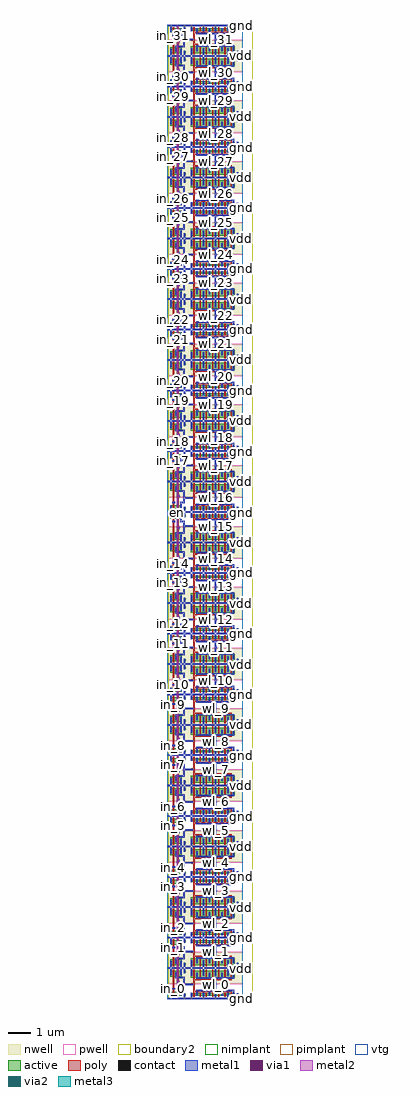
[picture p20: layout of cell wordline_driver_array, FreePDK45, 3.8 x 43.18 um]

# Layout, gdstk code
import gdstk
lib = gdstk.Library(unit=1e-6, precision=5e-10)
def R(c, l, rs):  # rectangles x0, y0, x1, y1
    for r in rs: c.add(gdstk.rectangle(r[:2], r[2:], *l))
def A(c, l, x, y, w, h, nx, ny, dx, dy):  # array of equal rectangles
    R(c, l, [(x+i*dx, y+j*dy, x+i*dx+w, y+j*dy+h) for i in range(nx) for j in range(ny)])
active = (1, 0)
pwell = (2, 0)
nwell = (3, 0)
nimplant = (4, 0)
pimplant = (5, 0)
vtg = (6, 0)
poly = (9, 0)
contact = (10, 0)
metal1 = (11, 0)
via1 = (12, 0)
metal2 = (13, 0)
via2 = (14, 0)
metal3 = (15, 0)
boundary2 = (239, 0)

contact_10 = lib.new_cell('contact_10')
R(contact_10, active, [(0,0.0225,0.09,0.1125)])
R(contact_10, nwell, [(-0.055,-0.0325,0.145,0.1675)])
R(contact_10, pimplant, [(0,0.0225,0.09,0.1125)])
R(contact_10, contact, [(0.0125,0.035,0.0775,0.1)])
R(contact_10, metal1, [(0.0125,0,0.0775,0.135)])
R(contact_10, boundary2, [(-0.055,-0.0325,0.145,0.1675)])

pmos_m1_w0_270_sm1_dm1 = lib.new_cell('pmos_m1_w0_270_sm1_dm1')
R(pmos_m1_w0_270_sm1_dm1, active, [(0,0,0.305,0.27)])
R(pmos_m1_w0_270_sm1_dm1, nwell, [(-0.08,-0.08,0.385,0.35)])
R(pmos_m1_w0_270_sm1_dm1, pimplant, [(0,0,0.305,0.27)])
R(pmos_m1_w0_270_sm1_dm1, vtg, [(-0.08,-0.08,0.385,0.35)])
R(pmos_m1_w0_270_sm1_dm1, poly, [(0.1275,-0.055,0.1775,0.325), (0.1275,-0.055,0.1775,0.325)])
R(pmos_m1_w0_270_sm1_dm1, metal1, [(0.0125,0.0675,0.0775,0.2025), (0.2275,0.0675,0.2925,0.2025)])
R(pmos_m1_w0_270_sm1_dm1, boundary2, [(-0.08,-0.08,0.385,0.35)])
pmos_m1_w0_270_sm1_dm1.add(gdstk.Reference(contact_10, (0,0.0675)))
pmos_m1_w0_270_sm1_dm1.add(gdstk.Reference(contact_10, (0.215,0.0675)))
pmos_m1_w0_270_sm1_dm1.add(gdstk.Label('S', (0.045,0.135), layer=11, texttype=0))
pmos_m1_w0_270_sm1_dm1.add(gdstk.Label('D', (0.26,0.135), layer=11, texttype=0))
pmos_m1_w0_270_sm1_dm1.add(gdstk.Label('G', (0.1525,0.135), layer=9, texttype=0))

contact_9 = lib.new_cell('contact_9')
R(contact_9, active, [(0,0.0225,0.09,0.1125)])
R(contact_9, pwell, [(-0.055,-0.0325,0.145,0.1675)])
R(contact_9, nimplant, [(0,0.0225,0.09,0.1125)])
R(contact_9, contact, [(0.0125,0.035,0.0775,0.1)])
R(contact_9, metal1, [(0.0125,0,0.0775,0.135)])
R(contact_9, boundary2, [(-0.055,-0.0325,0.145,0.1675)])

nmos_m1_w0_180_sm1_dacti = lib.new_cell('nmos_m1_w0_180_sm1_dactive')
R(nmos_m1_w0_180_sm1_dacti, active, [(0,0,0.305,0.18), (0.215,0.045,0.305,0.135)])
R(nmos_m1_w0_180_sm1_dacti, pwell, [(-0.08,-0.08,0.385,0.26)])
R(nmos_m1_w0_180_sm1_dacti, nimplant, [(0,0,0.305,0.18)])
R(nmos_m1_w0_180_sm1_dacti, vtg, [(-0.08,-0.08,0.385,0.26)])
R(nmos_m1_w0_180_sm1_dacti, poly, [(0.1275,-0.055,0.1775,0.235), (0.1275,-0.055,0.1775,0.235)])
R(nmos_m1_w0_180_sm1_dacti, metal1, [(0.0125,0.0225,0.0775,0.1575)])
R(nmos_m1_w0_180_sm1_dacti, boundary2, [(-0.08,-0.08,0.385,0.26)])
nmos_m1_w0_180_sm1_dacti.add(gdstk.Reference(contact_9, (0,0.0225)))
nmos_m1_w0_180_sm1_dacti.add(gdstk.Label('S', (0.045,0.09), layer=11, texttype=0))
nmos_m1_w0_180_sm1_dacti.add(gdstk.Label('D', (0.26,0.09), layer=1, texttype=0))
nmos_m1_w0_180_sm1_dacti.add(gdstk.Label('G', (0.1525,0.09), layer=9, texttype=0))

nmos_m1_w0_180_sactive_d = lib.new_cell('nmos_m1_w0_180_sactive_dm1')
R(nmos_m1_w0_180_sactive_d, active, [(0,0,0.305,0.18), (0,0.045,0.09,0.135)])
R(nmos_m1_w0_180_sactive_d, pwell, [(-0.08,-0.08,0.385,0.26)])
R(nmos_m1_w0_180_sactive_d, nimplant, [(0,0,0.305,0.18)])
R(nmos_m1_w0_180_sactive_d, vtg, [(-0.08,-0.08,0.385,0.26)])
R(nmos_m1_w0_180_sactive_d, poly, [(0.1275,-0.055,0.1775,0.235), (0.1275,-0.055,0.1775,0.235)])
R(nmos_m1_w0_180_sactive_d, metal1, [(0.2275,0.0225,0.2925,0.1575)])
R(nmos_m1_w0_180_sactive_d, boundary2, [(-0.08,-0.08,0.385,0.26)])
nmos_m1_w0_180_sactive_d.add(gdstk.Reference(contact_9, (0.215,0.0225)))
nmos_m1_w0_180_sactive_d.add(gdstk.Label('D', (0.26,0.09), layer=11, texttype=0))
nmos_m1_w0_180_sactive_d.add(gdstk.Label('S', (0.045,0.09), layer=1, texttype=0))
nmos_m1_w0_180_sactive_d.add(gdstk.Label('G', (0.1525,0.09), layer=9, texttype=0))

contact_11 = lib.new_cell('contact_11')
R(contact_11, active, [(0,0.0225,0.09,0.1125)])
R(contact_11, nwell, [(-0.055,-0.0325,0.145,0.1675)])
R(contact_11, nimplant, [(0,0.0225,0.09,0.1125)])
R(contact_11, contact, [(0.0125,0.035,0.0775,0.1)])
R(contact_11, metal1, [(0.0125,0,0.0775,0.135)])
R(contact_11, boundary2, [(-0.055,-0.0325,0.145,0.1675)])

contact_12 = lib.new_cell('contact_12')
R(contact_12, active, [(0,0.0225,0.09,0.1125)])
R(contact_12, pwell, [(-0.055,-0.0325,0.145,0.1675)])
R(contact_12, pimplant, [(0,0.0225,0.09,0.1125)])
R(contact_12, contact, [(0.0125,0.035,0.0775,0.1)])
R(contact_12, metal1, [(0.0125,0,0.0775,0.135)])
R(contact_12, boundary2, [(-0.055,-0.0325,0.145,0.1675)])

contact_13 = lib.new_cell('contact_13')
R(contact_13, poly, [(0.03,0,0.105,0.075)])
R(contact_13, contact, [(0.035,0.005,0.1,0.07)])
R(contact_13, metal1, [(0,0.005,0.135,0.07)])
R(contact_13, boundary2, [(0,0,0.135,0.075)])

pnand2 = lib.new_cell('pnand2')
R(pnand2, pwell, [(-0.055,-0.0325,0.9575,0.645)])
R(pnand2, nwell, [(-0.055,0.645,0.9575,1.38)])
R(pnand2, vtg, [(-0.055,-0.0325,0.9575,0.645), (-0.055,0.645,0.9575,1.38)])
R(pnand2, poly, [(0.2075,0.36,0.2575,0.895), (0.4225,0.36,0.4725,0.895), (0.2075,0.39,0.2325,0.465), (0.4225,0.67,0.4475,0.745)])
R(pnand2, metal1, [(0,-0.0325,0.9025,0.0325), (0.0925,-0.0325,0.1575,0.1475), (0.6925,0,0.7575,0.17), (0.5225,0.2825,0.5875,0.4125), (0.5225,0.38,0.5875,0.445), (0.555,0.38,0.685,0.445), (0.6525,0.38,0.7175,0.445), (0.165,0.395,0.3,0.46), (0.6525,0.4125,0.7175,0.92), (0.38,0.675,0.515,0.74), (0.3075,0.8875,0.3725,0.9525), (0.34,0.8875,0.685,0.9525), (0.6525,0.8875,0.7175,0.9525), (0.3075,0.92,0.3725,1.0175), (0.0925,1.0175,0.1575,1.3775), (0.5225,1.0175,0.5875,1.3775), (0.6925,1.175,0.7575,1.345), (0,1.3125,0.9025,1.3775)])
R(pnand2, boundary2, [(0,0,0.9025,1.345), (0,0,0.9025,1.345)])
pnand2.add(gdstk.Reference(pmos_m1_w0_270_sm1_dm1, (0.08,0.95)))
pnand2.add(gdstk.Reference(pmos_m1_w0_270_sm1_dm1, (0.295,0.95)))
pnand2.add(gdstk.Reference(nmos_m1_w0_180_sm1_dacti, (0.08,0.125)))
pnand2.add(gdstk.Reference(nmos_m1_w0_180_sactive_d, (0.295,0.125)))
pnand2.add(gdstk.Reference(contact_11, (0.68,1.1075)))
pnand2.add(gdstk.Reference(contact_12, (0.68,0.1025)))
pnand2.add(gdstk.Reference(contact_13, (0.165,0.39)))
pnand2.add(gdstk.Reference(contact_13, (0.38,0.67)))
pnand2.add(gdstk.Label('Z', (0.685,0.92), layer=11, texttype=0))
pnand2.add(gdstk.Label('gnd', (0.451,0), layer=11, texttype=0))
pnand2.add(gdstk.Label('vdd', (0.451,1.345), layer=11, texttype=0))
pnand2.add(gdstk.Label('A', (0.2325,0.4275), layer=11, texttype=0))
pnand2.add(gdstk.Label('B', (0.4475,0.7075), layer=11, texttype=0))

pmos_m7_w0_307_sm1_dm1_d = lib.new_cell('pmos_m7_w0_307_sm1_dm1_da_p')
R(pmos_m7_w0_307_sm1_dm1_d, active, [(0,0,1.955,0.3075)])
R(pmos_m7_w0_307_sm1_dm1_d, nwell, [(-0.08,-0.08,2.035,0.3875)])
R(pmos_m7_w0_307_sm1_dm1_d, pimplant, [(0,0,1.955,0.3075)])
R(pmos_m7_w0_307_sm1_dm1_d, vtg, [(-0.08,-0.08,2.035,0.3875)])
A(pmos_m7_w0_307_sm1_dm1_d, poly, 0.1275, -0.055, 0.05, 0.4175, 7, 1, 0.275, 0)
R(pmos_m7_w0_307_sm1_dm1_d, poly, [(0.1275,-0.105,1.8275,-0.055)])
A(pmos_m7_w0_307_sm1_dm1_d, metal1, 0.2575, -0.01, 0.065, 0.165, 3, 1, 0.55, 0)
A(pmos_m7_w0_307_sm1_dm1_d, metal1, 0.5325, 0.085, 0.065, 0.135, 3, 1, 0.55, 0)
R(pmos_m7_w0_307_sm1_dm1_d, metal1, [(0.2575,-0.045,1.9425,0.02), (1.8775,-0.01,1.9425,0.155), (0.0125,0.085,0.0775,0.22)])
R(pmos_m7_w0_307_sm1_dm1_d, boundary2, [(-0.08,-0.105,2.035,0.3875)])
pmos_m7_w0_307_sm1_dm1_d.add(gdstk.Reference(contact_10, (0,0.085)))
pmos_m7_w0_307_sm1_dm1_d.add(gdstk.Reference(contact_10, (0.245,0.085)))
pmos_m7_w0_307_sm1_dm1_d.add(gdstk.Reference(contact_10, (0.52,0.085)))
pmos_m7_w0_307_sm1_dm1_d.add(gdstk.Reference(contact_10, (0.795,0.085)))
pmos_m7_w0_307_sm1_dm1_d.add(gdstk.Reference(contact_10, (1.07,0.085)))
pmos_m7_w0_307_sm1_dm1_d.add(gdstk.Reference(contact_10, (1.345,0.085)))
pmos_m7_w0_307_sm1_dm1_d.add(gdstk.Reference(contact_10, (1.62,0.085)))
pmos_m7_w0_307_sm1_dm1_d.add(gdstk.Reference(contact_10, (1.865,0.085)))
pmos_m7_w0_307_sm1_dm1_d.add(gdstk.Label('S', (0.045,0.1525), layer=11, texttype=0))
pmos_m7_w0_307_sm1_dm1_d.add(gdstk.Label('S', (1.115,0.1525), layer=11, texttype=0))
pmos_m7_w0_307_sm1_dm1_d.add(gdstk.Label('S', (0.565,0.1525), layer=11, texttype=0))
pmos_m7_w0_307_sm1_dm1_d.add(gdstk.Label('S', (1.665,0.1525), layer=11, texttype=0))
pmos_m7_w0_307_sm1_dm1_d.add(gdstk.Label('D', (1.1,-0.0125), layer=11, texttype=0))
pmos_m7_w0_307_sm1_dm1_d.add(gdstk.Label('G', (0.9775,-0.08), layer=9, texttype=0))

nmos_m7_w0_103_sm1_dm1_d = lib.new_cell('nmos_m7_w0_103_sm1_dm1_da_p')
R(nmos_m7_w0_103_sm1_dm1_d, active, [(0,0,1.955,0.1025)])
R(nmos_m7_w0_103_sm1_dm1_d, pwell, [(-0.08,-0.08,2.035,0.1825)])
R(nmos_m7_w0_103_sm1_dm1_d, nimplant, [(0,0,1.955,0.1025)])
R(nmos_m7_w0_103_sm1_dm1_d, vtg, [(-0.08,-0.08,2.035,0.1825)])
A(nmos_m7_w0_103_sm1_dm1_d, poly, 0.1275, -0.055, 0.05, 0.2125, 7, 1, 0.275, 0)
R(nmos_m7_w0_103_sm1_dm1_d, poly, [(0.1275,0.1575,1.8275,0.2075)])
A(nmos_m7_w0_103_sm1_dm1_d, metal1, 0.5325, -0.015, 0.065, 0.135, 3, 1, 0.55, 0)
A(nmos_m7_w0_103_sm1_dm1_d, metal1, 0.2575, 0.05, 0.065, 0.165, 3, 1, 0.55, 0)
R(nmos_m7_w0_103_sm1_dm1_d, metal1, [(0.0125,-0.015,0.0775,0.12), (1.8775,0.05,1.9425,0.215), (0.2575,0.185,1.9425,0.25)])
R(nmos_m7_w0_103_sm1_dm1_d, boundary2, [(-0.08,-0.08,2.035,0.25)])
nmos_m7_w0_103_sm1_dm1_d.add(gdstk.Reference(contact_9, (0,-0.015)))
nmos_m7_w0_103_sm1_dm1_d.add(gdstk.Reference(contact_9, (0.245,-0.015)))
nmos_m7_w0_103_sm1_dm1_d.add(gdstk.Reference(contact_9, (0.52,-0.015)))
nmos_m7_w0_103_sm1_dm1_d.add(gdstk.Reference(contact_9, (0.795,-0.015)))
nmos_m7_w0_103_sm1_dm1_d.add(gdstk.Reference(contact_9, (1.07,-0.015)))
nmos_m7_w0_103_sm1_dm1_d.add(gdstk.Reference(contact_9, (1.345,-0.015)))
nmos_m7_w0_103_sm1_dm1_d.add(gdstk.Reference(contact_9, (1.62,-0.015)))
nmos_m7_w0_103_sm1_dm1_d.add(gdstk.Reference(contact_9, (1.865,-0.015)))
nmos_m7_w0_103_sm1_dm1_d.add(gdstk.Label('S', (0.565,0.0525), layer=11, texttype=0))
nmos_m7_w0_103_sm1_dm1_d.add(gdstk.Label('S', (1.665,0.0525), layer=11, texttype=0))
nmos_m7_w0_103_sm1_dm1_d.add(gdstk.Label('S', (1.115,0.0525), layer=11, texttype=0))
nmos_m7_w0_103_sm1_dm1_d.add(gdstk.Label('S', (0.045,0.0525), layer=11, texttype=0))
nmos_m7_w0_103_sm1_dm1_d.add(gdstk.Label('D', (1.1,0.2175), layer=11, texttype=0))
nmos_m7_w0_103_sm1_dm1_d.add(gdstk.Label('G', (0.9775,0.1825), layer=9, texttype=0))

pinv_0 = lib.new_cell('pinv_0')
R(pinv_0, pwell, [(-0.055,-0.0325,2.3925,0.645)])
R(pinv_0, nwell, [(-0.055,0.645,2.3925,1.38)])
R(pinv_0, vtg, [(-0.055,-0.0325,2.3925,0.645), (-0.055,0.645,2.3925,1.38)])
R(pinv_0, poly, [(0.2075,0.3325,0.2575,0.8075), (0.14,0.585,0.2075,0.66)])
A(pinv_0, metal1, 0.6125, -0.0325, 0.065, 0.1425, 3, 1, 0.55, 0)
A(pinv_0, metal1, 0.6125, 0.9975, 0.065, 0.38, 3, 1, 0.55, 0)
R(pinv_0, metal1, [(0,-0.0325,2.3375,0.0325), (0.0925,-0.0325,0.1575,0.11), (2.1275,0,2.1925,0.17), (1.1475,0.31,1.2125,0.9325), (0.0725,0.59,0.2075,0.655), (1.18,0.59,1.245,0.655), (0.0925,0.9975,0.1575,1.3775), (2.1275,1.175,2.1925,1.345), (0,1.3125,2.3375,1.3775)])
R(pinv_0, boundary2, [(0,0,2.3375,1.345), (0,0,2.3375,1.345)])
pinv_0.add(gdstk.Reference(pmos_m7_w0_307_sm1_dm1_d, (0.08,0.9125)))
pinv_0.add(gdstk.Reference(nmos_m7_w0_103_sm1_dm1_d, (0.08,0.125)))
pinv_0.add(gdstk.Reference(contact_11, (2.115,1.1075)))
pinv_0.add(gdstk.Reference(contact_12, (2.115,0.1025)))
pinv_0.add(gdstk.Reference(contact_13, (0.0725,0.585)))
pinv_0.add(gdstk.Label('A', (0.14,0.6225), layer=11, texttype=0))
pinv_0.add(gdstk.Label('Z', (1.2125,0.6225), layer=11, texttype=0))
pinv_0.add(gdstk.Label('gnd', (1.169,0), layer=11, texttype=0))
pinv_0.add(gdstk.Label('vdd', (1.169,1.345), layer=11, texttype=0))

wordline_driver = lib.new_cell('wordline_driver')
R(wordline_driver, metal1, [(0,-0.0325,3.24,0.0325), (0.165,0.395,0.3,0.46), (0.6525,0.59,0.7175,0.655), (0.685,0.59,1.0425,0.655), (2.0825,0.59,2.1475,0.655), (0.6525,0.6225,0.7175,0.92), (0.38,0.675,0.515,0.74), (0,1.3125,3.24,1.3775)])
R(wordline_driver, boundary2, [(0,0,3.24,1.345)])
wordline_driver.add(gdstk.Reference(pnand2, (0,0)))
wordline_driver.add(gdstk.Reference(pinv_0, (0.9025,0)))
wordline_driver.add(gdstk.Label('Z', (2.115,0.6225), layer=11, texttype=0))
wordline_driver.add(gdstk.Label('A', (0.2325,0.4275), layer=11, texttype=0))
wordline_driver.add(gdstk.Label('B', (0.4475,0.7075), layer=11, texttype=0))
wordline_driver.add(gdstk.Label('gnd', (1.62,0), layer=11, texttype=0))
wordline_driver.add(gdstk.Label('vdd', (1.62,1.345), layer=11, texttype=0))

contact_6 = lib.new_cell('contact_6')
R(contact_6, metal1, [(0,0.035,0.135,0.1)])
R(contact_6, via1, [(0.035,0.035,0.1,0.1)])
R(contact_6, metal2, [(0.0325,0,0.1025,0.135)])
R(contact_6, boundary2, [(0,0,0.135,0.135)])

contact_7 = lib.new_cell('contact_7')
R(contact_7, metal2, [(0.035,0,0.105,0.14)])
R(contact_7, via2, [(0.035,0.035,0.105,0.105)])
R(contact_7, metal3, [(0,0.035,0.14,0.105)])
R(contact_7, boundary2, [(0,0,0.14,0.14)])

wordline_driver_array = lib.new_cell('wordline_driver_array')
R(wordline_driver_array, metal1, [(0.165,0.395,0.3,0.46), (2.0825,0.59,2.1475,0.655), (2.0825,2.035,2.1475,2.1), (0.165,2.23,0.3,2.295), (0.165,3.085,0.3,3.15), (2.0825,3.28,2.1475,3.345), (2.0825,4.725,2.1475,4.79), (0.165,4.92,0.3,4.985), (0.165,5.775,0.3,5.84), (2.0825,5.97,2.1475,6.035), (2.0825,7.415,2.1475,7.48), (0.165,7.61,0.3,7.675), (0.165,8.465,0.3,8.53), (2.0825,8.66,2.1475,8.725), (2.0825,10.105,2.1475,10.17), (0.165,10.3,0.3,10.365), (0.165,11.155,0.3,11.22), (2.0825,11.35,2.1475,11.415), (2.0825,12.795,2.1475,12.86), (0.165,12.99,0.3,13.055), (0.165,13.845,0.3,13.91), (2.0825,14.04,2.1475,14.105), (2.0825,15.485,2.1475,15.55), (0.165,15.68,0.3,15.745), (0.165,16.535,0.3,16.6), (2.0825,16.73,2.1475,16.795), (2.0825,18.175,2.1475,18.24), (0.165,18.37,0.3,18.435), (0.165,19.225,0.3,19.29), (2.0825,19.42,2.1475,19.485), (2.0825,20.865,2.1475,20.93), (0.165,21.06,0.3,21.125), (0.165,21.915,0.3,21.98), (2.0825,22.11,2.1475,22.175), (2.0825,23.555,2.1475,23.62), (0.165,23.75,0.3,23.815), (0.165,24.605,0.3,24.67), (2.0825,24.8,2.1475,24.865), (2.0825,26.245,2.1475,26.31), (0.165,26.44,0.3,26.505), (0.165,27.295,0.3,27.36), (2.0825,27.49,2.1475,27.555), (2.0825,28.935,2.1475,29), (0.165,29.13,0.3,29.195), (0.165,29.985,0.3,30.05), (2.0825,30.18,2.1475,30.245), (2.0825,31.625,2.1475,31.69), (0.165,31.82,0.3,31.885), (0.165,32.675,0.3,32.74), (2.0825,32.87,2.1475,32.935), (2.0825,34.315,2.1475,34.38), (0.165,34.51,0.3,34.575), (0.165,35.365,0.3,35.43), (2.0825,35.56,2.1475,35.625), (2.0825,37.005,2.1475,37.07), (0.165,37.2,0.3,37.265), (0.165,38.055,0.3,38.12), (2.0825,38.25,2.1475,38.315), (2.0825,39.695,2.1475,39.76), (0.165,39.89,0.3,39.955), (0.165,40.745,0.3,40.81), (2.0825,40.94,2.1475,41.005), (2.0825,42.385,2.1475,42.45), (0.165,42.58,0.3,42.645)])
R(wordline_driver_array, metal2, [(0.38,0,0.45,43.04)])
A(wordline_driver_array, metal3, 3.17, -0.07, 0.14, 0.14, 1, 6, 0, 1.345)
A(wordline_driver_array, metal3, 3.17, 6.655, 0.14, 0.14, 1, 11, 0, 1.345)
A(wordline_driver_array, metal3, 3.17, 20.105, 0.14, 0.14, 1, 7, 0, 1.345)
A(wordline_driver_array, metal3, 3.17, 28.175, 0.14, 0.14, 1, 7, 0, 1.345)
A(wordline_driver_array, metal3, 3.17, 36.245, 0.14, 0.14, 1, 6, 0, 1.345)
R(wordline_driver_array, boundary2, [(0,0,3.745,43.04)])
wordline_driver_array.add(gdstk.Reference(wordline_driver, (0,21.52), x_reflection=True))
wordline_driver_array.add(gdstk.Reference(wordline_driver, (0,21.52)))
wordline_driver_array.add(gdstk.Reference(contact_6, (3.1725,21.4525)))
wordline_driver_array.add(gdstk.Reference(contact_7, (3.17,21.45)))
wordline_driver_array.add(gdstk.Reference(contact_6, (3.1725,21.4525)))
wordline_driver_array.add(gdstk.Reference(contact_7, (3.17,21.45)))
wordline_driver_array.add(gdstk.Reference(wordline_driver, (0,29.59), x_reflection=True))
wordline_driver_array.add(gdstk.Reference(wordline_driver, (0,29.59)))
wordline_driver_array.add(gdstk.Reference(wordline_driver, (0,32.28), x_reflection=True))
wordline_driver_array.add(gdstk.Reference(wordline_driver, (0,32.28)))
wordline_driver_array.add(gdstk.Reference(wordline_driver, (0,34.97), x_reflection=True))
wordline_driver_array.add(gdstk.Reference(wordline_driver, (0,34.97)))
wordline_driver_array.add(gdstk.Reference(wordline_driver, (0,37.66), x_reflection=True))
wordline_driver_array.add(gdstk.Reference(wordline_driver, (0,37.66)))
wordline_driver_array.add(gdstk.Reference(wordline_driver, (0,40.35), x_reflection=True))
wordline_driver_array.add(gdstk.Reference(wordline_driver, (0,40.35)))
wordline_driver_array.add(gdstk.Reference(wordline_driver, (0,43.04), x_reflection=True))
wordline_driver_array.add(gdstk.Reference(contact_6, (0.38,22.16)))
wordline_driver_array.add(gdstk.Reference(contact_6, (0.38,23.435)))
wordline_driver_array.add(gdstk.Reference(contact_6, (0.38,24.85)))
wordline_driver_array.add(gdstk.Reference(contact_6, (0.38,26.125)))
wordline_driver_array.add(gdstk.Reference(contact_6, (0.38,27.54)))
wordline_driver_array.add(gdstk.Reference(contact_6, (0.38,28.815)))
wordline_driver_array.add(gdstk.Reference(contact_6, (0.38,30.23)))
wordline_driver_array.add(gdstk.Reference(contact_6, (0.38,31.505)))
wordline_driver_array.add(gdstk.Reference(contact_6, (0.38,32.92)))
wordline_driver_array.add(gdstk.Reference(contact_6, (0.38,34.195)))
wordline_driver_array.add(gdstk.Reference(contact_6, (0.38,35.61)))
wordline_driver_array.add(gdstk.Reference(contact_6, (0.38,36.885)))
wordline_driver_array.add(gdstk.Reference(contact_6, (0.38,38.3)))
wordline_driver_array.add(gdstk.Reference(contact_6, (0.38,39.575)))
wordline_driver_array.add(gdstk.Reference(contact_6, (0.38,40.99)))
wordline_driver_array.add(gdstk.Reference(contact_6, (0.38,42.265)))
wordline_driver_array.add(gdstk.Reference(wordline_driver, (0,24.21), x_reflection=True))
wordline_driver_array.add(gdstk.Reference(wordline_driver, (0,24.21)))
wordline_driver_array.add(gdstk.Reference(contact_6, (3.1725,22.7975)))
wordline_driver_array.add(gdstk.Reference(contact_7, (3.17,22.795)))
wordline_driver_array.add(gdstk.Reference(wordline_driver, (0,26.9), x_reflection=True))
wordline_driver_array.add(gdstk.Reference(wordline_driver, (0,26.9)))
wordline_driver_array.add(gdstk.Reference(contact_6, (3.1725,22.7975)))
wordline_driver_array.add(gdstk.Reference(contact_7, (3.17,22.795)))
wordline_driver_array.add(gdstk.Reference(contact_6, (3.1725,24.1425)))
wordline_driver_array.add(gdstk.Reference(contact_7, (3.17,24.14)))
wordline_driver_array.add(gdstk.Reference(contact_6, (3.1725,25.4875)))
wordline_driver_array.add(gdstk.Reference(contact_7, (3.17,25.485)))
wordline_driver_array.add(gdstk.Reference(contact_6, (3.1725,24.1425)))
wordline_driver_array.add(gdstk.Reference(contact_7, (3.17,24.14)))
wordline_driver_array.add(gdstk.Reference(contact_6, (3.1725,25.4875)))
wordline_driver_array.add(gdstk.Reference(contact_7, (3.17,25.485)))
wordline_driver_array.add(gdstk.Reference(contact_6, (3.1725,26.8325)))
wordline_driver_array.add(gdstk.Reference(contact_7, (3.17,26.83)))
wordline_driver_array.add(gdstk.Reference(contact_6, (3.1725,28.1775)))
wordline_driver_array.add(gdstk.Reference(contact_7, (3.17,28.175)))
wordline_driver_array.add(gdstk.Reference(contact_6, (3.1725,26.8325)))
wordline_driver_array.add(gdstk.Reference(contact_7, (3.17,26.83)))
wordline_driver_array.add(gdstk.Reference(contact_6, (3.1725,28.1775)))
wordline_driver_array.add(gdstk.Reference(contact_7, (3.17,28.175)))
wordline_driver_array.add(gdstk.Reference(contact_6, (3.1725,29.5225)))
wordline_driver_array.add(gdstk.Reference(contact_7, (3.17,29.52)))
wordline_driver_array.add(gdstk.Reference(contact_6, (3.1725,30.8675)))
wordline_driver_array.add(gdstk.Reference(contact_7, (3.17,30.865)))
wordline_driver_array.add(gdstk.Reference(contact_6, (3.1725,29.5225)))
wordline_driver_array.add(gdstk.Reference(contact_7, (3.17,29.52)))
wordline_driver_array.add(gdstk.Reference(contact_6, (3.1725,30.8675)))
wordline_driver_array.add(gdstk.Reference(contact_7, (3.17,30.865)))
wordline_driver_array.add(gdstk.Reference(contact_6, (3.1725,32.2125)))
wordline_driver_array.add(gdstk.Reference(contact_7, (3.17,32.21)))
wordline_driver_array.add(gdstk.Reference(contact_6, (3.1725,33.5575)))
wordline_driver_array.add(gdstk.Reference(contact_7, (3.17,33.555)))
wordline_driver_array.add(gdstk.Reference(contact_6, (3.1725,32.2125)))
wordline_driver_array.add(gdstk.Reference(contact_7, (3.17,32.21)))
wordline_driver_array.add(gdstk.Reference(contact_6, (3.1725,33.5575)))
wordline_driver_array.add(gdstk.Reference(contact_7, (3.17,33.555)))
wordline_driver_array.add(gdstk.Reference(contact_6, (3.1725,34.9025)))
wordline_driver_array.add(gdstk.Reference(contact_7, (3.17,34.9)))
wordline_driver_array.add(gdstk.Reference(contact_6, (3.1725,36.2475)))
wordline_driver_array.add(gdstk.Reference(contact_7, (3.17,36.245)))
wordline_driver_array.add(gdstk.Reference(contact_6, (3.1725,34.9025)))
wordline_driver_array.add(gdstk.Reference(contact_7, (3.17,34.9)))
wordline_driver_array.add(gdstk.Reference(contact_6, (3.1725,36.2475)))
wordline_driver_array.add(gdstk.Reference(contact_7, (3.17,36.245)))
wordline_driver_array.add(gdstk.Reference(contact_6, (3.1725,37.5925)))
wordline_driver_array.add(gdstk.Reference(contact_7, (3.17,37.59)))
wordline_driver_array.add(gdstk.Reference(contact_6, (3.1725,38.9375)))
wordline_driver_array.add(gdstk.Reference(contact_7, (3.17,38.935)))
wordline_driver_array.add(gdstk.Reference(contact_6, (3.1725,37.5925)))
wordline_driver_array.add(gdstk.Reference(contact_7, (3.17,37.59)))
wordline_driver_array.add(gdstk.Reference(contact_6, (3.1725,38.9375)))
wordline_driver_array.add(gdstk.Reference(contact_7, (3.17,38.935)))
wordline_driver_array.add(gdstk.Reference(contact_6, (3.1725,40.2825)))
wordline_driver_array.add(gdstk.Reference(contact_7, (3.17,40.28)))
wordline_driver_array.add(gdstk.Reference(contact_6, (3.1725,41.6275)))
wordline_driver_array.add(gdstk.Reference(contact_7, (3.17,41.625)))
wordline_driver_array.add(gdstk.Reference(contact_6, (3.1725,40.2825)))
wordline_driver_array.add(gdstk.Reference(contact_7, (3.17,40.28)))
wordline_driver_array.add(gdstk.Reference(contact_6, (3.1725,41.6275)))
wordline_driver_array.add(gdstk.Reference(contact_7, (3.17,41.625)))
wordline_driver_array.add(gdstk.Reference(contact_6, (3.1725,42.9725)))
wordline_driver_array.add(gdstk.Reference(contact_7, (3.17,42.97)))
wordline_driver_array.add(gdstk.Reference(contact_7, (3.17,10.69)))
wordline_driver_array.add(gdstk.Reference(contact_6, (3.1725,12.0375)))
wordline_driver_array.add(gdstk.Reference(contact_7, (3.17,12.035)))
wordline_driver_array.add(gdstk.Reference(contact_6, (3.1725,13.3825)))
wordline_driver_array.add(gdstk.Reference(contact_7, (3.17,13.38)))
wordline_driver_array.add(gdstk.Reference(contact_6, (3.1725,14.7275)))
wordline_driver_array.add(gdstk.Reference(contact_7, (3.17,14.725)))
wordline_driver_array.add(gdstk.Reference(contact_6, (3.1725,13.3825)))
wordline_driver_array.add(gdstk.Reference(contact_7, (3.17,13.38)))
wordline_driver_array.add(gdstk.Reference(contact_6, (3.1725,14.7275)))
wordline_driver_array.add(gdstk.Reference(contact_7, (3.17,14.725)))
wordline_driver_array.add(gdstk.Reference(contact_6, (3.1725,16.0725)))
wordline_driver_array.add(gdstk.Reference(contact_7, (3.17,16.07)))
wordline_driver_array.add(gdstk.Reference(contact_6, (3.1725,17.4175)))
wordline_driver_array.add(gdstk.Reference(contact_7, (3.17,17.415)))
wordline_driver_array.add(gdstk.Reference(contact_6, (3.1725,16.0725)))
wordline_driver_array.add(gdstk.Reference(contact_7, (3.17,16.07)))
wordline_driver_array.add(gdstk.Reference(contact_6, (3.1725,17.4175)))
wordline_driver_array.add(gdstk.Reference(contact_7, (3.17,17.415)))
wordline_driver_array.add(gdstk.Reference(contact_6, (3.1725,18.7625)))
wordline_driver_array.add(gdstk.Reference(contact_7, (3.17,18.76)))
wordline_driver_array.add(gdstk.Reference(contact_6, (3.1725,20.1075)))
wordline_driver_array.add(gdstk.Reference(contact_7, (3.17,20.105)))
wordline_driver_array.add(gdstk.Reference(contact_6, (3.1725,18.7625)))
wordline_driver_array.add(gdstk.Reference(contact_7, (3.17,18.76)))
wordline_driver_array.add(gdstk.Reference(contact_6, (3.1725,20.1075)))
wordline_driver_array.add(gdstk.Reference(contact_7, (3.17,20.105)))
wordline_driver_array.add(gdstk.Reference(contact_6, (0.38,1.915)))
wordline_driver_array.add(gdstk.Reference(contact_6, (0.38,3.33)))
wordline_driver_array.add(gdstk.Reference(contact_6, (0.38,4.605)))
wordline_driver_array.add(gdstk.Reference(contact_6, (0.38,6.02)))
wordline_driver_array.add(gdstk.Reference(contact_6, (0.38,7.295)))
wordline_driver_array.add(gdstk.Reference(contact_6, (0.38,8.71)))
wordline_driver_array.add(gdstk.Reference(contact_6, (0.38,9.985)))
wordline_driver_array.add(gdstk.Reference(contact_6, (0.38,11.4)))
wordline_driver_array.add(gdstk.Reference(contact_6, (0.38,12.675)))
wordline_driver_array.add(gdstk.Reference(contact_6, (0.38,14.09)))
wordline_driver_array.add(gdstk.Reference(contact_6, (0.38,15.365)))
wordline_driver_array.add(gdstk.Reference(contact_6, (0.38,16.78)))
wordline_driver_array.add(gdstk.Reference(contact_6, (0.38,18.055)))
wordline_driver_array.add(gdstk.Reference(contact_6, (0.38,19.47)))
wordline_driver_array.add(gdstk.Reference(contact_6, (0.38,20.745)))
wordline_driver_array.add(gdstk.Reference(wordline_driver, (0,2.69)))
wordline_driver_array.add(gdstk.Reference(wordline_driver, (0,5.38), x_reflection=True))
wordline_driver_array.add(gdstk.Reference(wordline_driver, (0,5.38)))
wordline_driver_array.add(gdstk.Reference(wordline_driver, (0,8.07), x_reflection=True))
wordline_driver_array.add(gdstk.Reference(wordline_driver, (0,8.07)))
wordline_driver_array.add(gdstk.Reference(wordline_driver, (0,10.76), x_reflection=True))
wordline_driver_array.add(gdstk.Reference(wordline_driver, (0,10.76)))
wordline_driver_array.add(gdstk.Reference(wordline_driver, (0,13.45), x_reflection=True))
wordline_driver_array.add(gdstk.Reference(wordline_driver, (0,13.45)))
wordline_driver_array.add(gdstk.Reference(wordline_driver, (0,16.14), x_reflection=True))
wordline_driver_array.add(gdstk.Reference(wordline_driver, (0,16.14)))
wordline_driver_array.add(gdstk.Reference(wordline_driver, (0,18.83), x_reflection=True))
wordline_driver_array.add(gdstk.Reference(wordline_driver, (0,18.83)))
wordline_driver_array.add(gdstk.Reference(wordline_driver, (0,0)))
wordline_driver_array.add(gdstk.Reference(wordline_driver, (0,2.69), x_reflection=True))
wordline_driver_array.add(gdstk.Reference(contact_6, (0.38,0.64)))
wordline_driver_array.add(gdstk.Reference(contact_6, (3.1725,1.2775)))
wordline_driver_array.add(gdstk.Reference(contact_7, (3.17,1.275)))
wordline_driver_array.add(gdstk.Reference(contact_6, (3.1725,-0.0675)))
wordline_driver_array.add(gdstk.Reference(contact_7, (3.17,-0.07)))
wordline_driver_array.add(gdstk.Reference(contact_6, (3.1725,1.2775)))
wordline_driver_array.add(gdstk.Reference(contact_7, (3.17,1.275)))
wordline_driver_array.add(gdstk.Reference(contact_6, (3.1725,2.6225)))
wordline_driver_array.add(gdstk.Reference(contact_7, (3.17,2.62)))
wordline_driver_array.add(gdstk.Reference(contact_6, (3.1725,3.9675)))
wordline_driver_array.add(gdstk.Reference(contact_7, (3.17,3.965)))
wordline_driver_array.add(gdstk.Reference(contact_6, (3.1725,2.6225)))
wordline_driver_array.add(gdstk.Reference(contact_7, (3.17,2.62)))
wordline_driver_array.add(gdstk.Reference(contact_6, (3.1725,3.9675)))
wordline_driver_array.add(gdstk.Reference(contact_7, (3.17,3.965)))
wordline_driver_array.add(gdstk.Reference(contact_6, (3.1725,5.3125)))
wordline_driver_array.add(gdstk.Reference(contact_7, (3.17,5.31)))
wordline_driver_array.add(gdstk.Reference(contact_6, (3.1725,6.6575)))
wordline_driver_array.add(gdstk.Reference(contact_7, (3.17,6.655)))
wordline_driver_array.add(gdstk.Reference(contact_6, (3.1725,5.3125)))
wordline_driver_array.add(gdstk.Reference(contact_7, (3.17,5.31)))
wordline_driver_array.add(gdstk.Reference(contact_6, (3.1725,6.6575)))
wordline_driver_array.add(gdstk.Reference(contact_7, (3.17,6.655)))
wordline_driver_array.add(gdstk.Reference(contact_6, (3.1725,8.0025)))
wordline_driver_array.add(gdstk.Reference(contact_7, (3.17,8)))
wordline_driver_array.add(gdstk.Reference(contact_6, (3.1725,9.3475)))
wordline_driver_array.add(gdstk.Reference(contact_7, (3.17,9.345)))
wordline_driver_array.add(gdstk.Reference(contact_6, (3.1725,8.0025)))
wordline_driver_array.add(gdstk.Reference(contact_7, (3.17,8)))
wordline_driver_array.add(gdstk.Reference(contact_6, (3.1725,9.3475)))
wordline_driver_array.add(gdstk.Reference(contact_7, (3.17,9.345)))
wordline_driver_array.add(gdstk.Reference(contact_6, (3.1725,10.6925)))
wordline_driver_array.add(gdstk.Reference(contact_7, (3.17,10.69)))
wordline_driver_array.add(gdstk.Reference(contact_6, (3.1725,12.0375)))
wordline_driver_array.add(gdstk.Reference(contact_7, (3.17,12.035)))
wordline_driver_array.add(gdstk.Reference(contact_6, (3.1725,10.6925)))
wordline_driver_array.add(gdstk.Label('en', (0.415,21.52), layer=13, texttype=0))
wordline_driver_array.add(gdstk.Label('vdd', (3.24,17.485), layer=15, texttype=0))
wordline_driver_array.add(gdstk.Label('vdd', (3.24,1.345), layer=15, texttype=0))
wordline_driver_array.add(gdstk.Label('vdd', (3.24,41.695), layer=15, texttype=0))
wordline_driver_array.add(gdstk.Label('vdd', (3.24,36.315), layer=15, texttype=0))
wordline_driver_array.add(gdstk.Label('vdd', (3.24,36.315), layer=15, texttype=0))
wordline_driver_array.add(gdstk.Label('vdd', (3.24,9.415), layer=15, texttype=0))
wordline_driver_array.add(gdstk.Label('vdd', (3.24,20.175), layer=15, texttype=0))
wordline_driver_array.add(gdstk.Label('vdd', (3.24,20.175), layer=15, texttype=0))
wordline_driver_array.add(gdstk.Label('vdd', (3.24,33.625), layer=15, texttype=0))
wordline_driver_array.add(gdstk.Label('vdd', (3.24,22.865), layer=15, texttype=0))
wordline_driver_array.add(gdstk.Label('vdd', (3.24,4.035), layer=15, texttype=0))
wordline_driver_array.add(gdstk.Label('vdd', (3.24,6.725), layer=15, texttype=0))
wordline_driver_array.add(gdstk.Label('vdd', (3.24,6.725), layer=15, texttype=0))
wordline_driver_array.add(gdstk.Label('vdd', (3.24,12.105), layer=15, texttype=0))
wordline_driver_array.add(gdstk.Label('vdd', (3.24,25.555), layer=15, texttype=0))
wordline_driver_array.add(gdstk.Label('vdd', (3.24,14.795), layer=15, texttype=0))
wordline_driver_array.add(gdstk.Label('vdd', (3.24,28.245), layer=15, texttype=0))
wordline_driver_array.add(gdstk.Label('vdd', (3.24,30.935), layer=15, texttype=0))
wordline_driver_array.add(gdstk.Label('vdd', (3.24,39.005), layer=15, texttype=0))
wordline_driver_array.add(gdstk.Label('vdd', (3.24,28.245), layer=15, texttype=0))
wordline_driver_array.add(gdstk.Label('gnd', (3.24,29.59), layer=15, texttype=0))
wordline_driver_array.add(gdstk.Label('gnd', (3.24,10.76), layer=15, texttype=0))
wordline_driver_array.add(gdstk.Label('gnd', (3.24,34.97), layer=15, texttype=0))
wordline_driver_array.add(gdstk.Label('gnd', (3.24,18.83), layer=15, texttype=0))
wordline_driver_array.add(gdstk.Label('gnd', (3.24,24.21), layer=15, texttype=0))
wordline_driver_array.add(gdstk.Label('gnd', (3.24,40.35), layer=15, texttype=0))
wordline_driver_array.add(gdstk.Label('gnd', (3.24,2.69), layer=15, texttype=0))
wordline_driver_array.add(gdstk.Label('gnd', (3.24,16.14), layer=15, texttype=0))
wordline_driver_array.add(gdstk.Label('gnd', (3.24,21.52), layer=15, texttype=0))
wordline_driver_array.add(gdstk.Label('gnd', (3.24,13.45), layer=15, texttype=0))
wordline_driver_array.add(gdstk.Label('gnd', (3.24,0), layer=15, texttype=0))
wordline_driver_array.add(gdstk.Label('gnd', (3.24,43.04), layer=15, texttype=0))
wordline_driver_array.add(gdstk.Label('gnd', (3.24,5.38), layer=15, texttype=0))
wordline_driver_array.add(gdstk.Label('gnd', (3.24,8.07), layer=15, texttype=0))
wordline_driver_array.add(gdstk.Label('gnd', (3.24,32.28), layer=15, texttype=0))
wordline_driver_array.add(gdstk.Label('gnd', (3.24,37.66), layer=15, texttype=0))
wordline_driver_array.add(gdstk.Label('gnd', (3.24,26.9), layer=15, texttype=0))
wordline_driver_array.add(gdstk.Label('in_0', (0.2325,0.4275), layer=11, texttype=0))
wordline_driver_array.add(gdstk.Label('wl_0', (2.115,0.6225), layer=11, texttype=0))
wordline_driver_array.add(gdstk.Label('in_1', (0.2325,2.2625), layer=11, texttype=0))
wordline_driver_array.add(gdstk.Label('wl_1', (2.115,2.0675), layer=11, texttype=0))
wordline_driver_array.add(gdstk.Label('in_2', (0.2325,3.1175), layer=11, texttype=0))
wordline_driver_array.add(gdstk.Label('wl_2', (2.115,3.3125), layer=11, texttype=0))
wordline_driver_array.add(gdstk.Label('in_3', (0.2325,4.9525), layer=11, texttype=0))
wordline_driver_array.add(gdstk.Label('wl_3', (2.115,4.7575), layer=11, texttype=0))
wordline_driver_array.add(gdstk.Label('in_4', (0.2325,5.8075), layer=11, texttype=0))
wordline_driver_array.add(gdstk.Label('wl_4', (2.115,6.0025), layer=11, texttype=0))
wordline_driver_array.add(gdstk.Label('in_5', (0.2325,7.6425), layer=11, texttype=0))
wordline_driver_array.add(gdstk.Label('wl_5', (2.115,7.4475), layer=11, texttype=0))
wordline_driver_array.add(gdstk.Label('in_6', (0.2325,8.4975), layer=11, texttype=0))
wordline_driver_array.add(gdstk.Label('wl_6', (2.115,8.6925), layer=11, texttype=0))
wordline_driver_array.add(gdstk.Label('in_7', (0.2325,10.3325), layer=11, texttype=0))
wordline_driver_array.add(gdstk.Label('wl_7', (2.115,10.1375), layer=11, texttype=0))
wordline_driver_array.add(gdstk.Label('in_8', (0.2325,11.1875), layer=11, texttype=0))
wordline_driver_array.add(gdstk.Label('wl_8', (2.115,11.3825), layer=11, texttype=0))
wordline_driver_array.add(gdstk.Label('in_9', (0.2325,13.0225), layer=11, texttype=0))
wordline_driver_array.add(gdstk.Label('wl_9', (2.115,12.8275), layer=11, texttype=0))
wordline_driver_array.add(gdstk.Label('in_10', (0.2325,13.8775), layer=11, texttype=0))
wordline_driver_array.add(gdstk.Label('wl_10', (2.115,14.0725), layer=11, texttype=0))
wordline_driver_array.add(gdstk.Label('in_11', (0.2325,15.7125), layer=11, texttype=0))
wordline_driver_array.add(gdstk.Label('wl_11', (2.115,15.5175), layer=11, texttype=0))
wordline_driver_array.add(gdstk.Label('in_12', (0.2325,16.5675), layer=11, texttype=0))
wordline_driver_array.add(gdstk.Label('wl_12', (2.115,16.7625), layer=11, texttype=0))
wordline_driver_array.add(gdstk.Label('in_13', (0.2325,18.4025), layer=11, texttype=0))
wordline_driver_array.add(gdstk.Label('wl_13', (2.115,18.2075), layer=11, texttype=0))
wordline_driver_array.add(gdstk.Label('in_14', (0.2325,19.2575), layer=11, texttype=0))
wordline_driver_array.add(gdstk.Label('wl_14', (2.115,19.4525), layer=11, texttype=0))
wordline_driver_array.add(gdstk.Label('in_15', (0.2325,21.0925), layer=11, texttype=0))
wordline_driver_array.add(gdstk.Label('wl_15', (2.115,20.8975), layer=11, texttype=0))
wordline_driver_array.add(gdstk.Label('in_16', (0.2325,21.9475), layer=11, texttype=0))
wordline_driver_array.add(gdstk.Label('wl_16', (2.115,22.1425), layer=11, texttype=0))
wordline_driver_array.add(gdstk.Label('in_17', (0.2325,23.7825), layer=11, texttype=0))
wordline_driver_array.add(gdstk.Label('wl_17', (2.115,23.5875), layer=11, texttype=0))
wordline_driver_array.add(gdstk.Label('in_18', (0.2325,24.6375), layer=11, texttype=0))
wordline_driver_array.add(gdstk.Label('wl_18', (2.115,24.8325), layer=11, texttype=0))
wordline_driver_array.add(gdstk.Label('in_19', (0.2325,26.4725), layer=11, texttype=0))
wordline_driver_array.add(gdstk.Label('wl_19', (2.115,26.2775), layer=11, texttype=0))
wordline_driver_array.add(gdstk.Label('in_20', (0.2325,27.3275), layer=11, texttype=0))
wordline_driver_array.add(gdstk.Label('wl_20', (2.115,27.5225), layer=11, texttype=0))
wordline_driver_array.add(gdstk.Label('in_21', (0.2325,29.1625), layer=11, texttype=0))
wordline_driver_array.add(gdstk.Label('wl_21', (2.115,28.9675), layer=11, texttype=0))
wordline_driver_array.add(gdstk.Label('in_22', (0.2325,30.0175), layer=11, texttype=0))
wordline_driver_array.add(gdstk.Label('wl_22', (2.115,30.2125), layer=11, texttype=0))
wordline_driver_array.add(gdstk.Label('in_23', (0.2325,31.8525), layer=11, texttype=0))
wordline_driver_array.add(gdstk.Label('wl_23', (2.115,31.6575), layer=11, texttype=0))
wordline_driver_array.add(gdstk.Label('in_24', (0.2325,32.7075), layer=11, texttype=0))
wordline_driver_array.add(gdstk.Label('wl_24', (2.115,32.9025), layer=11, texttype=0))
wordline_driver_array.add(gdstk.Label('in_25', (0.2325,34.5425), layer=11, texttype=0))
wordline_driver_array.add(gdstk.Label('wl_25', (2.115,34.3475), layer=11, texttype=0))
wordline_driver_array.add(gdstk.Label('in_26', (0.2325,35.3975), layer=11, texttype=0))
wordline_driver_array.add(gdstk.Label('wl_26', (2.115,35.5925), layer=11, texttype=0))
wordline_driver_array.add(gdstk.Label('in_27', (0.2325,37.2325), layer=11, texttype=0))
wordline_driver_array.add(gdstk.Label('wl_27', (2.115,37.0375), layer=11, texttype=0))
wordline_driver_array.add(gdstk.Label('in_28', (0.2325,38.0875), layer=11, texttype=0))
wordline_driver_array.add(gdstk.Label('wl_28', (2.115,38.2825), layer=11, texttype=0))
wordline_driver_array.add(gdstk.Label('in_29', (0.2325,39.9225), layer=11, texttype=0))
wordline_driver_array.add(gdstk.Label('wl_29', (2.115,39.7275), layer=11, texttype=0))
wordline_driver_array.add(gdstk.Label('in_30', (0.2325,40.7775), layer=11, texttype=0))
wordline_driver_array.add(gdstk.Label('wl_30', (2.115,40.9725), layer=11, texttype=0))
wordline_driver_array.add(gdstk.Label('in_31', (0.2325,42.6125), layer=11, texttype=0))
wordline_driver_array.add(gdstk.Label('wl_31', (2.115,42.4175), layer=11, texttype=0))

lib.write_gds('wordline_driver_array.gds')
